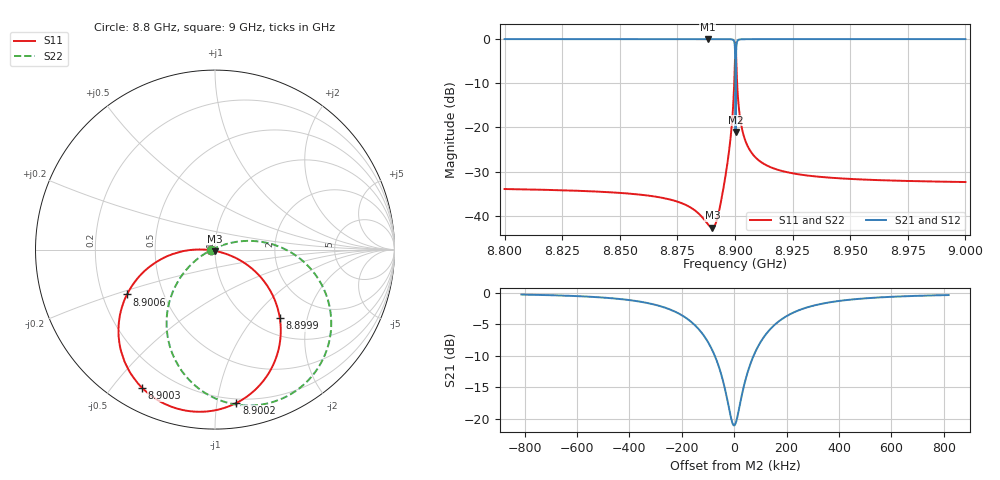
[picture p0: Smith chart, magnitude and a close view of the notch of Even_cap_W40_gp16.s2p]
! Sonnet Data File
! From: emgraph Version : 16.52
! From Project: Resonator2_cp_varyW
! Data is De-embedded
! Data File Written: 10/07/2017 09:25:24
!< HDATE 10/06/2017 17:18:21
!< MDATE 10/06/2017 17:18:21
!< PARAMS
!< gap = 16.0
!< Length = 400.0
!< Pwid1 = 2000.0
!< Pwid2 = 2000.0
!< Air_gap = 24.0
!< Width = 40.0
!< END PARAMS
# GHZ S MA R 51.80000
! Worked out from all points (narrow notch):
!   1595 points, 8.8 GHz to 9 GHz, reference 51.8 ohm
!   highest |S21| = 0.00 dB at 8.8882 GHz (marker M1); lowest = -21.0 dB at 8.9003 GHz (marker M2)
!   notch at M2: 21.0 dB deep, 138 kHz wide at half that depth
!   lowest |S11| = -42.7 dB at 8.8902 GHz (marker M3), VSWR 1.01, Z = 51.7 - j0.746 ohm
!   |S11| at or under -10 dB: start of sweep to 8.8997 GHz; 8.9009 GHz to end of sweep
!   |S22| runs from -42.8 to -0.8 dB; largest |S21 - S12| = 0
!   S11 on the Smith chart (normalised r, x): 8.8 GHz: 0.96, -0.01; 8.8999 GHz: 1.31, -1.38; 8.9002 GHz: 0.17, -1.13; 8.9003 GHz: 0.09, -0.60; 8.9006 GHz: 0.31, -0.22; 9 GHz: 0.95, -0.01
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8.8  0.02003 -167.3  0.9998 -80.8  0.9998 -80.8  0.02003 -174.3
!< P1 F=8.8 Eeff=(6.44313487 -2.9703e-5) Z0=(50.4821399 1.16465e-4) R=0.0 C=0.0
!< P2 F=8.8 Eeff=(6.44313487 -2.9703e-5) Z0=(50.4821399 1.16465e-4) R=0.0 C=0.0
8.8334  0.01906 -166.5  0.9998 -81.2  0.9998 -81.2  0.01906 -175.8
8.8668  0.01621 -162.7  0.9999 -81.6  0.9999 -81.6  0.01621 179.5
8.8882  0.00802 -124.7  0.9999 -82.5  0.9999 -82.5  0.00797 139.9
8.890199  0.007313 -99.3  0.9999 -82.7  0.9999 -82.7  0.007232 113.9
8.892994  0.01102 -52.8  0.9999 -83.2  0.9999 -83.2  0.01091 65.8
8.897192  0.04853 -22.4  0.9984 -85.5  0.9984 -85.5  0.04839 30.3
8.899195  0.1751 -24.1  0.9808 -92.8  0.9808 -92.8  0.1748 16.0
8.899599  0.2862 -30.4  0.9487 -99.4  0.9487 -99.4  0.2858 7.8
8.899935  0.5242 -46.5  0.8176 -114.3  0.8176 -114.3  0.5234 -9.7
8.9  0.606 -52.9  0.747 -119.9  0.747 -119.9  0.6051 -16.4
8.900175  0.8627 -82.0  0.3307 -139.2  0.3307 -139.2  0.8615 -46.3
8.900253  0.9117 -100.6  0.08899 -82.1  0.08899 -82.1  0.9104 -65.1
8.900325  0.8711 -117.8  0.3103 -25.8  0.3103 -25.8  0.8699 -82.6
8.900408  0.7609 -133.9  0.5588 -33.8  0.5588 -33.8  0.7598 -99.0
8.900568  0.5506 -153.0  0.801 -49.5  0.801 -49.5  0.5499 -118.7
8.901052  0.2716 -172.0  0.956 -67.0  0.956 -67.0  0.2713 -139.4
8.902415  0.1174 -179.8  0.9922 -76.1  0.9922 -76.1  0.1173 -151.4
8.9066  0.05436 -179.7  0.9984 -79.8  0.9984 -79.8  0.05434 -159.6
8.9334  0.02809 -174.3  0.9996 -81.5  0.9996 -81.5  0.02809 -168.8
8.9668  0.02504 -172.8  0.9997 -82.0  0.9997 -82.0  0.02504 -171.2
9  0.02404 -172.5  0.9997 -82.4  0.9997 -82.4  0.02404 -172.3
